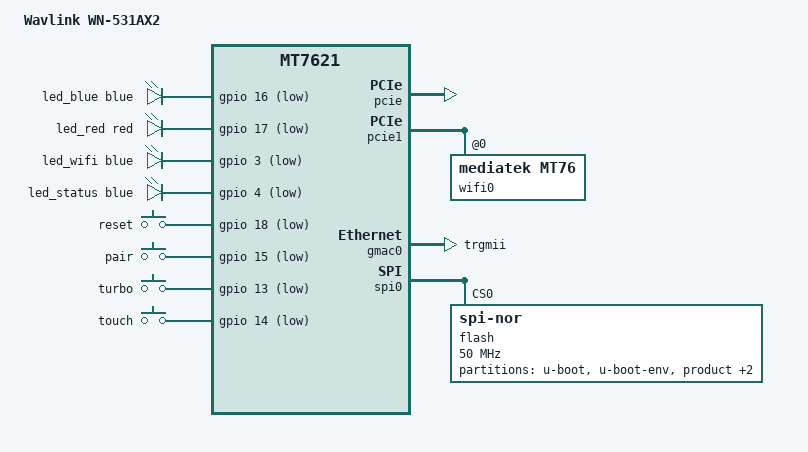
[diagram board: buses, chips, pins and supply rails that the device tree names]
// SPDX-License-Identifier: GPL-2.0-or-later OR MIT

#include "mt7621.dtsi"

#include <dt-bindings/gpio/gpio.h>
#include <dt-bindings/input/input.h>
#include <dt-bindings/leds/common.h>

/ {
	compatible = "wavlink,wn531ax2", "mediatek,mt7621-soc";
	model = "Wavlink WN-531AX2";

	aliases {
		led-boot = &led_status;
		led-failsafe = &led_red;
		led-running = &led_status;
		led-upgrade = &led_red;
		label-mac-device = &wifi0;
	};

	chosen {
		bootargs = "console=ttyS0,115200";
		bootargs-override = "console=ttyS0,115200";
	};

	leds {
		compatible = "gpio-leds";

		led_blue: blue {
			color = <LED_COLOR_ID_BLUE>;
			function = LED_FUNCTION_STATUS;
			gpios = <&gpio 16 GPIO_ACTIVE_LOW>;
		};

		led_red: red {
			color = <LED_COLOR_ID_RED>;
			function = LED_FUNCTION_STATUS;
			gpios = <&gpio 17 GPIO_ACTIVE_LOW>;
		};

		led_wifi: wifi {
			color = <LED_COLOR_ID_BLUE>;
			function = LED_FUNCTION_WLAN;
			linux,default-trigger = "phy0tpt";
			gpios = <&gpio 3 GPIO_ACTIVE_LOW>;
		};

		led_status: status {
			color = <LED_COLOR_ID_BLUE>;
			function = LED_FUNCTION_INDICATOR;
			gpios = <&gpio 4 GPIO_ACTIVE_LOW>;
		};
	};

	keys {
		compatible = "gpio-keys-polled";
		poll-interval = <20>;

		reset {
			label = "reset";
			gpios = <&gpio 18 GPIO_ACTIVE_LOW>;
			linux,code = <KEY_RESTART>;
		};

		pair {
			label = "pair";
			gpios = <&gpio 15 GPIO_ACTIVE_LOW>;
			linux,code = <KEY_WPS_BUTTON>;
		};

		turbo {
			label = "turbo";
			gpios = <&gpio 13 GPIO_ACTIVE_LOW>;
			linux,code = <BTN_1>;
		};

		touch {
			label = "touch";
			gpios = <&gpio 14 GPIO_ACTIVE_LOW>;
			linux,code = <BTN_0>;
		};
	};
};

&pcie {
	status = "okay";
};

&pcie1 {
	wifi0: wifi@0,0 {
		compatible = "mediatek,mt76";
		reg = <0x0000 0 0 0 0>;
		nvmem-cells = <&eeprom_factory_0>, <&macaddr_factory_4>;
		nvmem-cell-names = "eeprom", "mac-address";
		mediatek,disable-radar-background;
	};
};

&gmac0 {
	phy-mode = "trgmii";
	nvmem-cells = <&macaddr_factory_3fff4>;
	nvmem-cell-names = "mac-address";
};

&switch0 {
	ports {
		port@0 {
			status = "okay";
			label = "lan1";
		};

		port@1 {
			status = "okay";
			label = "lan2";
		};

		port@2 {
			status = "okay";
			label = "lan3";
		};

		port@3 {
			status = "okay";
			label = "lan4";
		};

		port@4 {
			status = "okay";
			label = "wan";
			nvmem-cells = <&macaddr_factory_3fffa>;
			nvmem-cell-names = "mac-address";
		};
	};
};

&state_default {
	gpio {
		groups = "uart2", "uart3";
		function = "gpio";
	};
};

&spi0 {
	status = "okay";

	flash@0 {
		compatible = "jedec,spi-nor";
		reg = <0>;
		spi-max-frequency = <50000000>;

		partitions {
			compatible = "fixed-partitions";
			#address-cells = <1>;
			#size-cells = <1>;

			partition@0 {
				label = "u-boot";
				reg = <0x0 0x30000>;
				read-only;
			};

			partition@30000 {
				label = "u-boot-env";
				reg = <0x30000 0x10000>;
				read-only;
			};

			partition@40000 {
				label = "product";
				reg = <0x40000 0x10000>;
				read-only;
			};

			partition@50000 {
				label = "factory";
				reg = <0x50000 0x40000>;
				read-only;

				nvmem-layout {
					compatible = "fixed-layout";
					#address-cells = <1>;
					#size-cells = <1>;

					eeprom_factory_0: eeprom@0 {
						reg = <0x0 0xe00>;
					};

					macaddr_factory_4: macaddr@4 {
						compatible = "mac-base";
						reg = <0x4 0x6>;
						#nvmem-cell-cells = <1>;
					};

					macaddr_factory_a: macaddr@a {
						compatible = "mac-base";
						reg = <0xa 0x6>;
					};

					macaddr_factory_3fff4: macaddr@3fff4 {
						compatible = "mac-base";
						reg = <0x3fff4 0x6>;
					};

					macaddr_factory_3fffa: macaddr@3fffa {
						compatible = "mac-base";
						reg = <0x3fffa 0x6>;
					};
				};
			};

			partition@90000 {
				compatible = "denx,fit";
				label = "firmware";
				reg = <0x90000 0xf70000>;
			};
		};
	};
};

&sdhci {
	status = "disabled";
};
